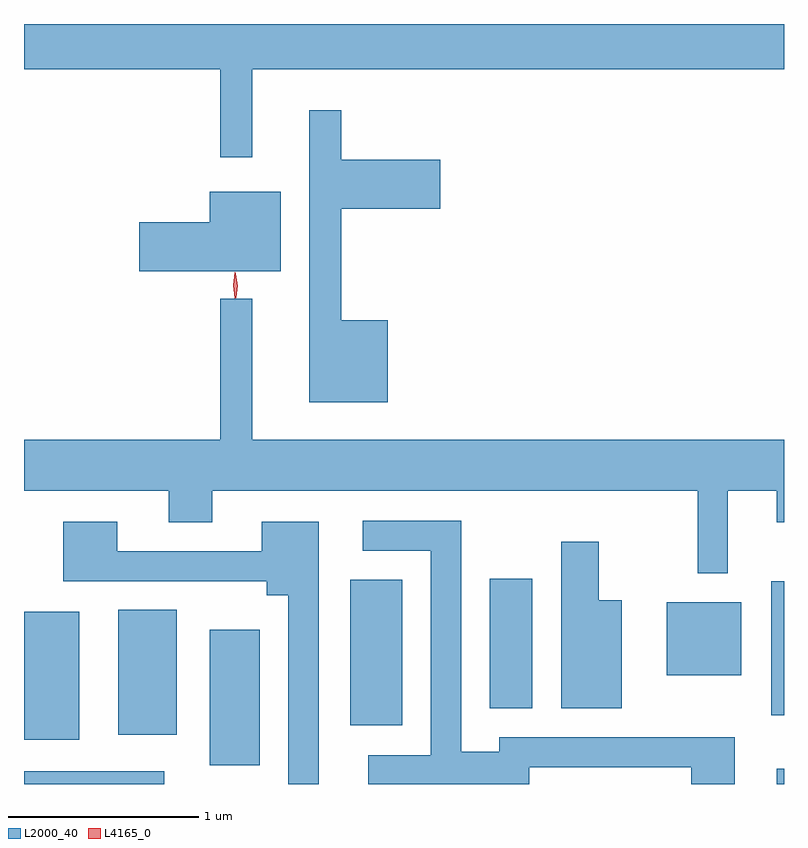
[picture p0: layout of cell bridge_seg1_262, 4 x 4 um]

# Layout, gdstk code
import gdstk
lib = gdstk.Library(unit=1e-6, precision=1e-09)
def R(c, l, rs):  # rectangles x0, y0, x1, y1
    for r in rs: c.add(gdstk.rectangle(r[:2], r[2:], *l))
def P(c, l, *ps):  # polygons
    for p in ps: c.add(gdstk.Polygon(p, *l))
L2000_40 = (2000, 40)
L4165_0 = (4165, 0)

bridge_seg1_262 = lib.new_cell('bridge_seg1_262')
R(bridge_seg1_262, L2000_40, [(963.199,882.493,963.938,882.559), (967.161,882.493,967.199,882.574), (964.176,882.591,964.439,883.304), (963.199,882.726,963.489,883.399), (963.696,882.751,964.004,883.409), (964.916,882.801,965.189,883.569), (967.131,882.856,967.199,883.559), (965.651,882.891,965.874,883.574), (966.581,883.066,966.974,883.449)])
P(bridge_seg1_262, L2000_40, [(964.399,886.256),(967.199,886.256),(967.199,886.493),(963.199,886.493),(963.199,886.256),(964.231,886.256),(964.231,885.793),(964.399,885.793)],
  [(965.114,884.934),(964.869,884.934),(964.869,885.521),(965.389,885.521),(965.389,885.779),(964.869,885.779),(964.869,886.038),(964.701,886.038),(964.701,884.501),(965.114,884.501)],
  [(964.549,885.609),(964.176,885.609),(964.176,885.449),(963.806,885.449),(963.806,885.191),(964.549,885.191)],
  [(966.904,884.036),(967.161,884.036),(967.161,883.871),(967.199,883.871),(967.199,884.304),(964.399,884.304),(964.399,885.048),(964.231,885.048),(964.231,884.304),(963.199,884.304),(963.199,884.036),(963.961,884.036),(963.961,883.871),(964.189,883.871),(964.189,884.036),(966.746,884.036),(966.746,883.603),(966.904,883.603)],
  [(965.859,882.581),(966.711,882.581),(966.711,882.493),(966.939,882.493),(966.939,882.739),(965.701,882.739),(965.701,882.664),(965.499,882.664),(965.499,883.879),(964.983,883.879),(964.983,883.721),(965.341,883.721),(965.341,882.644),(965.011,882.644),(965.011,882.493),(965.859,882.493)],
  [(964.749,883.874),(964.451,883.874),(964.451,883.719),(963.689,883.719),(963.689,883.874),(963.406,883.874),(963.406,883.561),(964.476,883.561),(964.476,883.486),(964.591,883.486),(964.591,882.493),(964.749,882.493)],
  [(966.344,883.459),(966.224,883.459),(966.224,883.769),(966.026,883.769),(966.026,882.891),(966.344,882.891)])
P(bridge_seg1_262, L4165_0, [(964.309,885.05),(964.299,885.118),(964.308,885.186),(964.309,885.186),(964.31,885.186),(964.319,885.118),(964.31,885.05),(964.31,885.05)],
  [(964.314,885.053),(964.304,885.116),(964.313,885.179),(964.313,885.18),(964.314,885.179),(964.324,885.116),(964.315,885.053),(964.315,885.053)])

lib.write_gds('bridge_seg1_262.gds')
